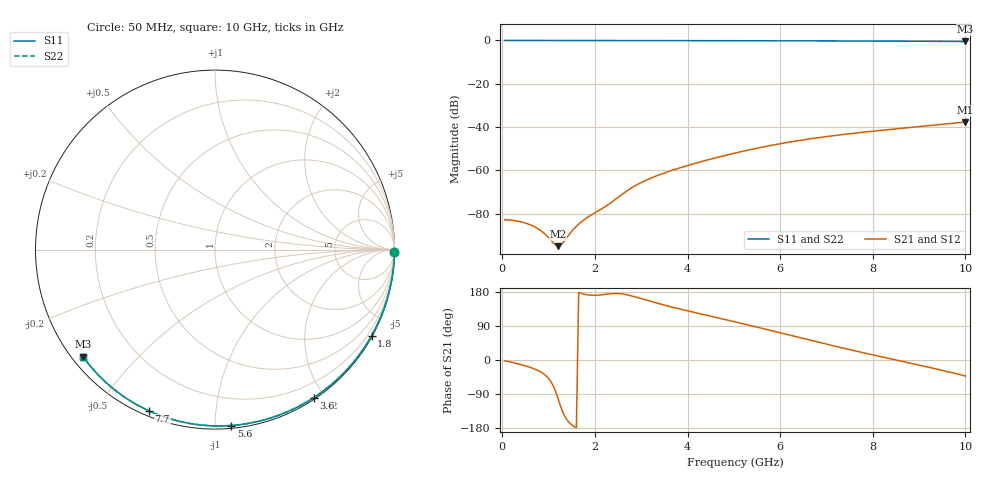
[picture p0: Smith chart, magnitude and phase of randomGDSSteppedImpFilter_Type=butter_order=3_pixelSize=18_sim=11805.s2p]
! freq	dB(S11)	phase(S11)	dB(S12)	phase(S12)
!  dB(S21)	phase(S21)	dB(S22)	phase(S22)
!S-par simulation data
#  GHz  S  DB  R 50
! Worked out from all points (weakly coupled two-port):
!   200 points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, 50 MHz to 10 GHz, reference 50 ohm
!   highest |S21| = -37.70 dB at 10 GHz (marker M1); lowest = -95.0 dB at 1.2 GHz (marker M2)
!   lowest |S11| = -0.5 dB at 10 GHz (marker M3), VSWR 36.38, Z = 1.55 - j17.7 ohm
!   |S11| at or under -10 dB: nowhere
!   |S22| runs from -0.5 to 0.0 dB; largest |S21 - S12| = 0
!   S11 on the Smith chart (normalised r, x): 50 MHz: open; 1.8 GHz: 0.03, -3.89; 3.6 GHz: 0.02, -1.87; 5.6 GHz: 0.02, -1.10; 7.7 GHz: 0.02, -0.67; 10 GHz: 0.03, -0.35
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0.05  -0.00 -0.8  -82.75 -2.1  -82.75 -2.1  -0.00 -0.8
0.6  -0.01 -9.7  -85.06 -19.4  -85.06 -19.4  -0.01 -9.7
1.2  -0.02 -19.4  -94.96 -100.1  -94.96 -100.1  -0.02 -19.4
1.75  -0.04 -28.1  -83.00 174.3  -83.00 174.3  -0.04 -28.1
1.8  -0.04 -28.9  -82.23 172.9  -82.23 172.9  -0.04 -28.9
1.95  -0.04 -31.2  -80.19 170.8  -80.19 170.8  -0.04 -31.2
2  -0.04 -32.0  -79.56 170.7  -79.56 170.7  -0.04 -32.0
2.3  -0.05 -36.7  -75.60 174.5  -75.60 174.5  -0.05 -36.7
2.65  -0.05 -42.1  -70.04 173.2  -70.04 173.2  -0.05 -42.0
2.85  -0.06 -45.1  -67.29 167.3  -67.29 167.3  -0.06 -45.1
3.1  -0.06 -48.9  -64.55 158.3  -64.55 158.3  -0.06 -48.9
3.4  -0.07 -53.4  -61.93 147.9  -61.93 147.9  -0.07 -53.4
3.6  -0.08 -56.4  -60.42 141.5  -60.42 141.5  -0.08 -56.4
4.3  -0.09 -66.6  -55.92 121.2  -55.92 121.2  -0.09 -66.6
5.05  -0.12 -77.2  -51.86 100.0  -51.86 100.0  -0.12 -77.2
5.6  -0.14 -84.8  -49.31 83.9  -49.31 83.9  -0.14 -84.8
6.15  -0.16 -92.2  -47.10 67.3  -47.10 67.3  -0.16 -92.2
6.7  -0.19 -99.4  -45.25 50.7  -45.25 50.7  -0.19 -99.4
7.7  -0.26 -112.3  -42.59 21.7  -42.59 21.7  -0.26 -112.3
8.35  -0.31 -120.5  -41.13 4.0  -41.13 4.0  -0.31 -120.5
9.2  -0.39 -131.0  -39.32 -18.9  -39.32 -18.9  -0.39 -131.0
10  -0.48 -141.0  -37.70 -42.3  -37.70 -42.3  -0.48 -141.0
